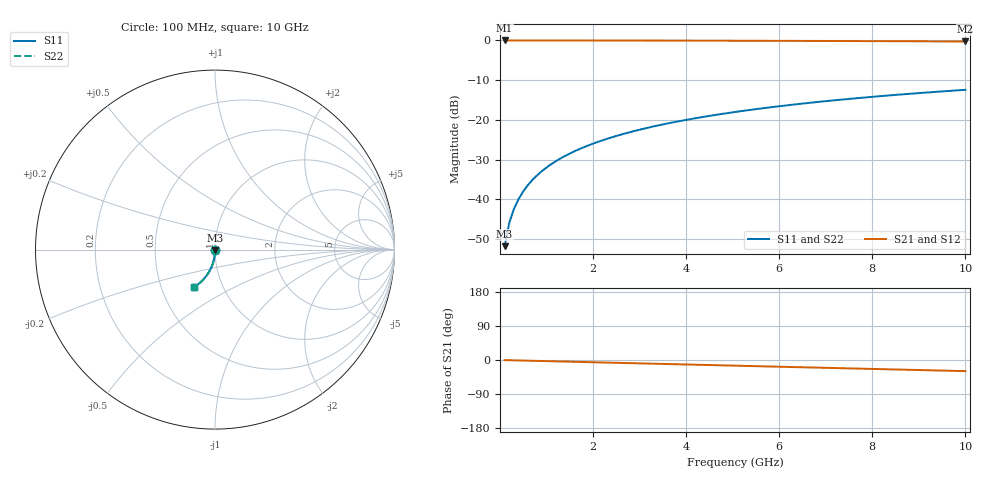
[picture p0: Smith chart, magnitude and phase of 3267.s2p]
# Hz S RI R 50.00
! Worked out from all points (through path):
!   100 points, 100 MHz to 10 GHz, reference 50 ohm
!   highest |S21| = 0.00 dB at 100 MHz (marker M1); lowest = -0.3 dB at 10 GHz (marker M2)
!   group delay of S21, straight-line fit = 8.16 ps
!   lowest |S11| = -51.8 dB at 100 MHz (marker M3), VSWR 1.01, Z = 50.1 - j0.252 ohm
!   |S11| at or under -10 dB: start of sweep to end of sweep
!   |S22| runs from -51.8 to -12.4 dB; largest |S21 - S12| = 0
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1e8  0.000549 -0.00252  0.9994 -0.00516  0.9994 -0.00516  0.000549 -0.00252
2e8  0.00051 -0.00504  0.9994 -0.0103  0.9994 -0.0103  0.00051 -0.00504
3e8  0.000444 -0.00756  0.9993 -0.0155  0.9993 -0.0155  0.000444 -0.00756
4e8  0.000351 -0.0101  0.9991 -0.0206  0.9991 -0.0206  0.000351 -0.0101
5e8  0.000232 -0.0126  0.999 -0.0258  0.999 -0.0258  0.000232 -0.0126
6e8  8.74e-05 -0.0151  0.9988 -0.031  0.9988 -0.031  8.74e-05 -0.0151
7e8  -8.37e-05 -0.0176  0.9986 -0.0361  0.9986 -0.0361  -8.37e-05 -0.0176
8e8  -0.000281 -0.0201  0.9983 -0.0413  0.9983 -0.0413  -0.000281 -0.0201
9e8  -0.000504 -0.0227  0.998 -0.0464  0.998 -0.0464  -0.000504 -0.0227
1.1e9  -0.00103 -0.0277  0.9974 -0.0567  0.9974 -0.0567  -0.00103 -0.0277
1.4e9  -0.00201 -0.0352  0.9961 -0.0722  0.9961 -0.0722  -0.00201 -0.0352
1.8e9  -0.00368 -0.0451  0.994 -0.0927  0.994 -0.0927  -0.00368 -0.0451
2.1e9  -0.0052 -0.0526  0.9921 -0.1081  0.9921 -0.1081  -0.0052 -0.0526
2.5e9  -0.00759 -0.0624  0.989 -0.1285  0.989 -0.1285  -0.00759 -0.0624
2.9e9  -0.0104 -0.0721  0.9855 -0.1488  0.9855 -0.1488  -0.0104 -0.0721
3.4e9  -0.0144 -0.084  0.9803 -0.174  0.9803 -0.174  -0.0144 -0.084
4.2e9  -0.0221 -0.1026  0.9704 -0.2139  0.9704 -0.2139  -0.0221 -0.1026
5.1e9  -0.0326 -0.1227  0.9569 -0.2579  0.9569 -0.2579  -0.0326 -0.1227
5.9e9  -0.0434 -0.1396  0.943 -0.2961  0.943 -0.2961  -0.0434 -0.1396
6.7e9  -0.0555 -0.1556  0.9272 -0.3334  0.9272 -0.3334  -0.0555 -0.1556
8.4e9  -0.0851 -0.1856  0.8883 -0.4091  0.8883 -0.4091  -0.0851 -0.1856
1e10  -0.1168 -0.2086  0.8456 -0.4752  0.8456 -0.4752  -0.1168 -0.2086
